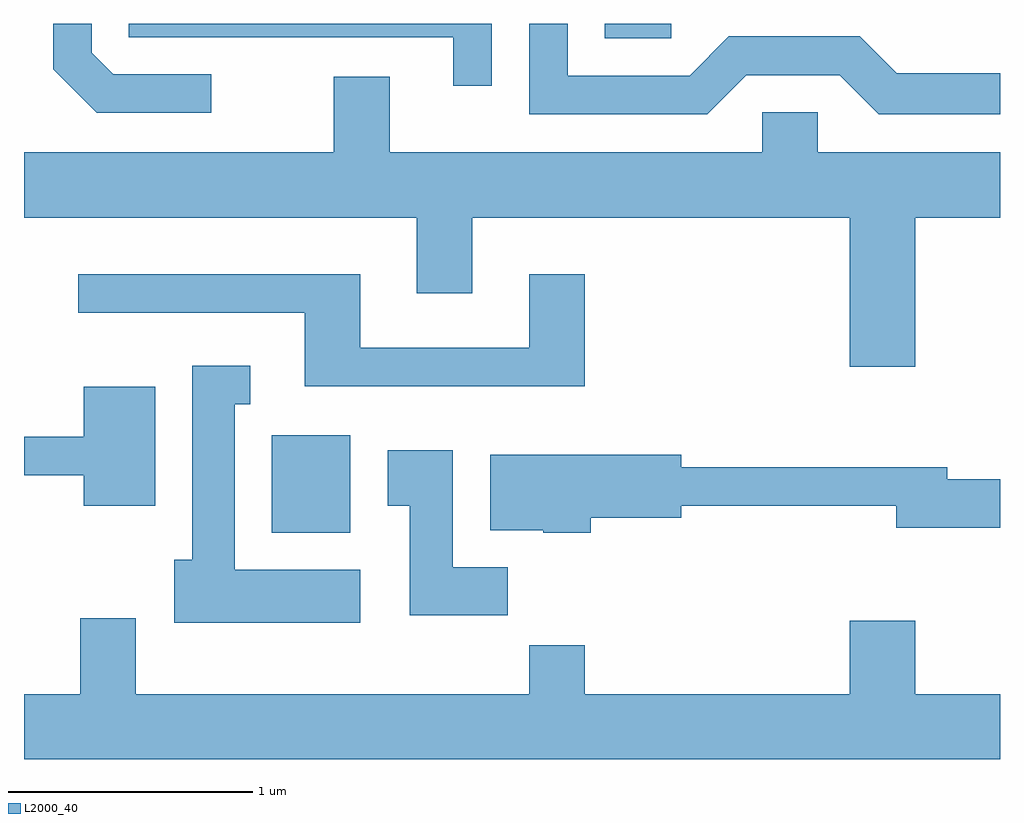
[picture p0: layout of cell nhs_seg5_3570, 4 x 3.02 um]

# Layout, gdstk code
import gdstk
lib = gdstk.Library(unit=1e-6, precision=1e-09)
def R(c, l, rs):  # rectangles x0, y0, x1, y1
    for r in rs: c.add(gdstk.rectangle(r[:2], r[2:], *l))
def P(c, l, *ps):  # polygons
    for p in ps: c.add(gdstk.Polygon(p, *l))
L2000_40 = (2000, 40)

nhs_seg5_3570 = lib.new_cell('nhs_seg5_3570')
R(nhs_seg5_3570, L2000_40, [(292.626,1419.986,292.949,1420.384), (293.991,1422.011,294.263,1422.072)])
P(nhs_seg5_3570, L2000_40, [(292.378,1421.864),(291.977,1421.864),(291.889,1421.952),(291.889,1422.072),(291.731,1422.072),(291.731,1421.884),(291.909,1421.706),(292.378,1421.706)],
  [(293.529,1422.072),(292.041,1422.072),(292.041,1422.016),(293.371,1422.016),(293.371,1421.818),(293.529,1421.818)],
  [(294.572,1421.861),(294.954,1421.861),(295.114,1421.701),(295.611,1421.701),(295.611,1421.869),(295.187,1421.869),(295.037,1422.019),(294.499,1422.019),(294.339,1421.859),(293.839,1421.859),(293.839,1422.072),(293.681,1422.072),(293.681,1421.701),(294.412,1421.701)],
  [(295.264,1421.276),(295.611,1421.276),(295.611,1421.544),(294.864,1421.544),(294.864,1421.709),(294.636,1421.709),(294.636,1421.544),(293.109,1421.544),(293.109,1421.854),(292.881,1421.854),(292.881,1421.544),(291.611,1421.544),(291.611,1421.276),(293.221,1421.276),(293.221,1420.966),(293.449,1420.966),(293.449,1421.276),(294.996,1421.276),(294.996,1420.666),(295.264,1420.666)],
  [(293.909,1421.044),(293.681,1421.044),(293.681,1420.744),(292.989,1420.744),(292.989,1421.044),(291.833,1421.044),(291.833,1420.886),(292.761,1420.886),(292.761,1420.586),(293.909,1420.586)],
  [(292.989,1419.834),(292.474,1419.834),(292.474,1420.511),(292.538,1420.511),(292.538,1420.669),(292.301,1420.669),(292.301,1419.874),(292.226,1419.874),(292.226,1419.616),(292.989,1419.616)],
  [(292.149,1420.584),(291.856,1420.584),(291.856,1420.379),(291.611,1420.379),(291.611,1420.221),(291.856,1420.221),(291.856,1420.096),(292.149,1420.096)],
  [(293.594,1419.844),(293.369,1419.844),(293.369,1420.324),(293.101,1420.324),(293.101,1420.096),(293.191,1420.096),(293.191,1419.646),(293.594,1419.646)],
  [(293.934,1420.046),(294.304,1420.046),(294.304,1420.096),(295.186,1420.096),(295.186,1420.006),(295.611,1420.006),(295.611,1420.204),(295.394,1420.204),(295.394,1420.254),(294.304,1420.254),(294.304,1420.304),(293.521,1420.304),(293.521,1419.996),(293.74,1419.996),(293.74,1419.986),(293.934,1419.986)],
  [(295.611,1419.324),(295.264,1419.324),(295.264,1419.624),(294.996,1419.624),(294.996,1419.324),(293.909,1419.324),(293.909,1419.524),(293.681,1419.524),(293.681,1419.324),(292.069,1419.324),(292.069,1419.634),(291.841,1419.634),(291.841,1419.324),(291.611,1419.324),(291.611,1419.056),(295.611,1419.056)])

lib.write_gds('nhs_seg5_3570.gds')
